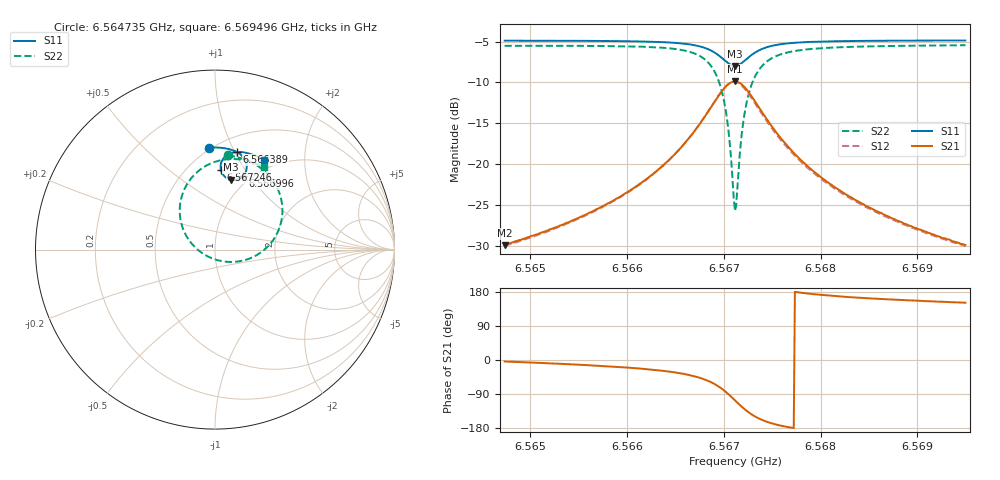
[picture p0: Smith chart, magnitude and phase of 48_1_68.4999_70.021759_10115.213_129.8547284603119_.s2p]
#  HZ  S  RI  R  50.00
! Rohde & Schwarz Vector Network Analyzer
! Rohde-Schwarz,ZNB20-2Port,1311601062101988,3.16
! Created: UTC 3/20/2024, 4:50:42 PM
! freq[Hz]  re:S11  im:S11  re:S21  im:S21  re:S12  im:S12  re:S22  im:S22
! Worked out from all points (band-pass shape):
!   401 points, 6.564735 GHz to 6.569496 GHz, reference 50 ohm
!   highest |S21| = -9.89 dB at 6.567115 GHz (marker M1); lowest = -29.9 dB at 6.564735 GHz (marker M2)
!   |S21| within 3 dB of the highest: 6.566876 GHz to 6.567353 GHz (476.8 kHz wide, 0.00726 % of centre)
!   lowest |S11| = -8.0 dB at 6.567115 GHz (marker M3), VSWR 2.33, Z = 42.7 + j39.5 ohm
!   |S11| at or under -10 dB: nowhere
!   |S22| runs from -25.7 to -5.5 dB; largest |S21 - S12| = 0.017
!   S11 on the Smith chart (normalised r, x): 6.564735 GHz: 0.49, +0.82; 6.566389 GHz: 0.65, +1.02; 6.566996 GHz: 0.92, +0.93; 6.567246 GHz: 0.71, +0.78; 6.569496 GHz: 0.87, +1.29
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6.5647346e9  -0.0323 0.5686  0.0319 -0.00214  0.0314 -0.00271  0.0719 0.5244
6.5655321e9  0.0351 0.567  0.0467 -0.0106  0.0459 -0.0112  0.1535 0.5062
6.5659369e9  0.0727 0.561  0.0601 -0.0205  0.0594 -0.0212  0.2061 0.4843
6.5663297e9  0.1147 0.547  0.0828 -0.0428  0.0817 -0.0439  0.2746 0.4385
6.5663893e9  0.1219 0.5436  0.0877 -0.0489  0.0865 -0.0499  0.2872 0.4266
6.5666273e9  0.1526 0.5205  0.1101 -0.0885  0.1083 -0.0904  0.3443 0.3487
6.5668059e9  0.174 0.4833  0.1213 -0.1542  0.1182 -0.1576  0.3757 0.2217
6.566913e9  0.1751 0.4451  0.1045 -0.2214  0.0984 -0.2261  0.3474 0.0934
6.5669964e9  0.1558 0.4095  0.0539 -0.2821  0.0427 -0.2856  0.2519 -0.0185
6.567044e9  0.1329 0.3937  0.00329 -0.3071  -0.0108 -0.3076  0.1565 -0.061
6.5670916e9  0.1029 0.3875  -0.0591 -0.3134  -0.0746 -0.3088  0.0426 -0.0653
6.5671154e9  0.0871 0.3895  -0.0915 -0.3071  -0.1062 -0.2998  -0.0144 -0.0496
6.5671392e9  0.0721 0.3949  -0.1217 -0.2947  -0.135 -0.2847  -0.0664 -0.0229
6.5671749e9  0.053 0.4082  -0.16 -0.2661  -0.1706 -0.2536  -0.1297 0.0331
6.5671987e9  0.0437 0.4195  -0.1794 -0.2431  -0.1875 -0.2296  -0.1599 0.0764
6.5672464e9  0.0329 0.4446  -0.2028 -0.1941  -0.2063 -0.1801  -0.1922 0.1663
6.5673416e9  0.0361 0.4878  -0.2047 -0.1104  -0.2025 -0.0996  -0.1802 0.3123
6.5674844e9  0.0632 0.5236  -0.169 -0.0411  -0.1653 -0.0352  -0.1032 0.4284
6.5676511e9  0.0951 0.5392  -0.1301 -0.00807  -0.1267 -0.00484  -0.022 0.4807
6.567913e9  0.1338 0.5439  -0.0913 0.0093  -0.0891 0.0109  0.0638 0.503
6.5687106e9  0.2139 0.5275  -0.0446 0.0164  -0.0435 0.0167  0.1976 0.4898
6.5694963e9  0.2747 0.5007  -0.028 0.0154  -0.0273 0.0156  0.274 0.4582
